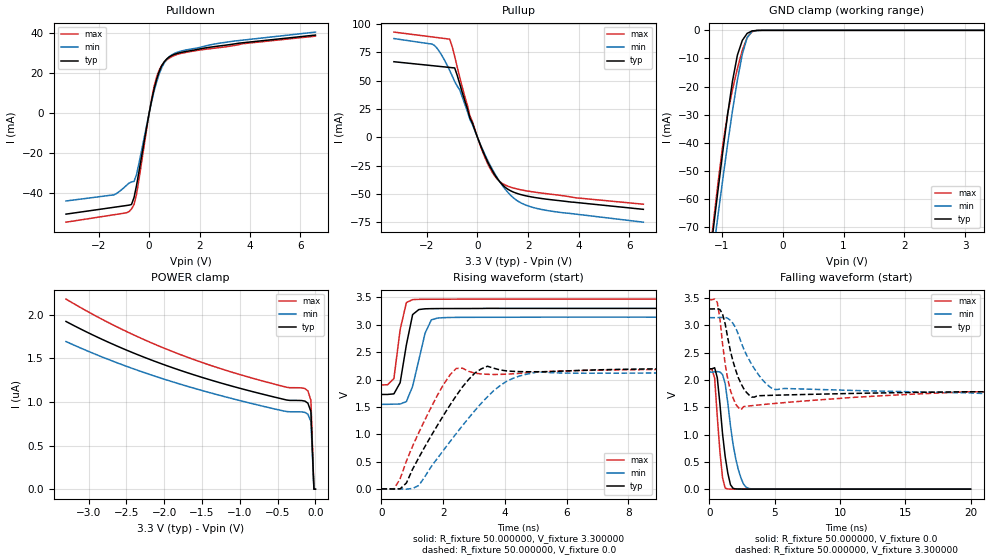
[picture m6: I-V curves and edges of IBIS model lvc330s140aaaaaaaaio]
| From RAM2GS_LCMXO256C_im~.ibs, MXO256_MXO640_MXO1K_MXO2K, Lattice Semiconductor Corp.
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[Model]   lvc330s140aaaaaaaaio
Model_type   I/O
Polarity   Non-Inverting
Enable   Active-Low
Vinl =   0.800000V
Vinh =   2.000000V
Vmeas =   1.650000V
Cref =   0.0F
Rref =   1.000000M
Vref =   0.0V
C_comp   2.68pF   2.54pF   2.92pF
[Temperature Range]   25.000000   0.105000k   -40.000000
[Voltage Range]   3.300000V   3.140000V   3.470000V
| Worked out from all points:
|   slope of the pulldown table from 0 to 0.495 V, typ, clamps not added: 21 ohm
|   slope of the pullup table from 0 to 0.495 V, typ, clamps not added: 19.3 ohm
|   GND clamp passes 1 mA (typ) near -0.57 V on its own axis
|   rising waveform, R_fixture 50.000000, V_fixture 3.300000: 20-80 % time 301ps typ, 401ps min, 257ps max; typ from 1.73 V to 3.3 V
|   rising waveform, R_fixture 50.000000, V_fixture 0.0: 20-80 % time 1.41ns typ, 1.85ns min, 1.09ns max; typ from 0 V to 2.2 V
|   falling waveform, R_fixture 50.000000, V_fixture 0.0: 20-80 % time 592ps typ, 813ps min, 429ps max; typ from 2.2 V to 0 V
|   falling waveform, R_fixture 50.000000, V_fixture 3.300000: 20-80 % time 917ps typ, 2.42ns min, 533ps max; typ from 3.3 V to 1.78 V
[Pulldown]
|Voltage   I(typ)   I(min)   I(max)
-3.3V     -50.58mA   -44mA      -54.62mA
-1.4V     -47.16mA   -40.96mA   -50.9mA
-700mV    -45.75mA   -34.43mA   -47.99mA
-600mV    -42.25mA   -34.2mA    -45.78mA
-500mV    -36.17mA   -30.75mA   -40.6mA
0V        27.19nA    25.68nA    31.68nA
200mV     12.31mA    11.16mA    13.53mA
400mV     20.91mA    19.66mA    21.67mA
700mV     27.21mA    27.01mA    26.7mA
1.2V      30.22mA    30.85mA    29.77mA
2.6V      33.37mA    34.65mA    32.57mA
6.6V      39.13mA    40.62mA    38.6mA
[Pullup]
|Voltage   I(typ)   I(min)   I(max)
-3.3V     66.67mA    87.09mA    92.8mA
-1.8V     63.23mA    82.32mA    88.56mA
-1.1V     61.63mA    59.06mA    86.58mA
-900mV    61.17mA    49.19mA    71.28mA
-700mV    47.05mA    41.79mA    52.9mA
-300mV    17.1mA     15.82mA    19mA
100mV     -5.905mA   -5.395mA   -6.53mA
600mV     -29.95mA   -28.77mA   -31.34mA
1V        -42.15mA   -42.97mA   -40.89mA
1.6V      -49.72mA   -56.3mA    -45.7mA
2.3V      -53.16mA   -62.43mA   -48.42mA
6.55V     -63.46mA   -74.8mA    -58.95mA
[GND_clamp]
|Voltage   I(typ)   I(min)   I(max)
-3.3V     -966.2mA   -950.5mA   -981.2mA
-1.14V    -71.66mA   -79.64mA   -69.55mA
-1.06V    -57.22mA   -66.14mA   -54.65mA
-980mV    -43.21mA   -53.02mA   -40.87mA
-900mV    -29.92mA   -40.4mA    -29.6mA
-820mV    -17.96mA   -28.51mA   -21.04mA
-740mV    -8.811mA   -17.67mA   -13.57mA
-660mV    -3.585mA   -8.563mA   -7.151mA
-580mV    -1.078mA   -2.529mA   -2.551mA
-500mV    -216.5uA   -395.1uA   -485.3uA
-340mV    -4.48uA    -6.181uA   -4.704uA
3.3V      152nA      1.621uA    132.3nA
[POWER_clamp]
|Voltage   I(typ)   I(min)   I(max)
-3.3V     1.922uA    1.692uA    2.179uA
-2.94V    1.765uA    1.556uA    2.001uA
-2.54V    1.609uA    1.421uA    1.823uA
-1.74V    1.348uA    1.191uA    1.527uA
-1.26V    1.219uA    1.074uA    1.383uA
-700mV    1.089uA    951.8nA    1.24uA
-380mV    1.022uA    889.5nA    1.168uA
-140mV    1.009uA    880.1nA    1.154uA
-100mV    985.5nA    859.3nA    1.126uA
-60mV     890.1nA    776.2nA    1.017uA
-20mV     1.5pA      1.2pA      1.8pA
0V        0A         0A         0A
[Ramp]
| variable   typ   min   max
dV/dt_r  1.322279/1.397370n  1.285979/1.830494n  1.312139/1.075717n
dV/dt_f  0.909660/0.907875n  0.826020/1.758264n  1.011840/0.527820n
R_load = 50.000000
[Rising Waveform]
R_fixture=   50.000000
V_fixture=   3.300000
V_fixture_min=   3.140000
V_fixture_max=   3.470000
|time   V(typ)   V(min)   V(max)
0s        1.726V     1.546V     1.9V
202ps     1.727V     1.546V     1.905V
404ps     1.737V     1.55V      2.018V
606.1ps   1.942V     1.552V     2.913V
808.1ps   2.634V     1.597V     3.407V
1.01ns    3.187V     1.875V     3.461V
1.414ns   3.293V     2.848V     3.467V
1.616ns   3.296V     3.09V      3.468V
1.818ns   3.297V     3.124V     3.468V
20ns      3.3V       3.14V      3.47V
[Rising Waveform]
R_fixture=   50.000000
V_fixture=   0.0
V_fixture_min=   0.0
V_fixture_max=   0.0
|time   V(typ)   V(min)   V(max)
0s        1.86uV     2.247uV    1.68uV
404ps     -1.717mV   272.5nV    -4.681mV
808.1ps   107mV      -5.196mV   507.8mV
1.212ns   574.2mV    63.09mV    1.032V
2.02ns    1.354V     714.4mV    1.916V
2.424ns   1.705V     1.013V     2.202V
3.434ns   2.243V     1.684V     2.095V
4.04ns    2.158V     1.962V     2.098V
5.051ns   2.142V     2.138V     2.135V
20ns      2.204V     2.143V     2.187V
[Falling Waveform]
R_fixture=   50.000000
V_fixture=   0.0
V_fixture_min=   0.0
V_fixture_max=   0.0
|time   V(typ)   V(min)   V(max)
0s        2.204V     2.143V     2.187V
404ps     2.223V     2.148V     2.033V
606.1ps   2.041V     2.153V     1.33V
1.01ns    1.011V     2.097V     210mV
1.212ns   595.5mV    1.931V     16.67mV
1.616ns   80.61mV    1.161V     1.54mV
2.02ns    3.438mV    556.3mV    249.1uV
2.626ns   612.5uV    87.87mV    -2.069uV
3.03ns    375.1uV    11.83mV    -24.87uV
20ns      -1.207uV   12.11uV    -4.724uV
[Falling Waveform]
R_fixture=   50.000000
V_fixture=   3.300000
V_fixture_min=   3.140000
V_fixture_max=   3.470000
|time   V(typ)   V(min)   V(max)
0s        3.3V       3.14V      3.47V
606.1ps   3.308V     3.14V      3.421V
1.01ns    3.205V     3.144V     2.661V
1.212ns   3.025V     3.146V     2.287V
1.616ns   2.526V     3.092V     1.804V
2.424ns   1.932V     2.695V     1.454V
3.232ns   1.687V     2.288V     1.528V
5.051ns   1.72V      1.824V     1.57V
19.8ns    1.783V     1.764V     1.782V
40ns      1.784V     1.55V      1.784V
